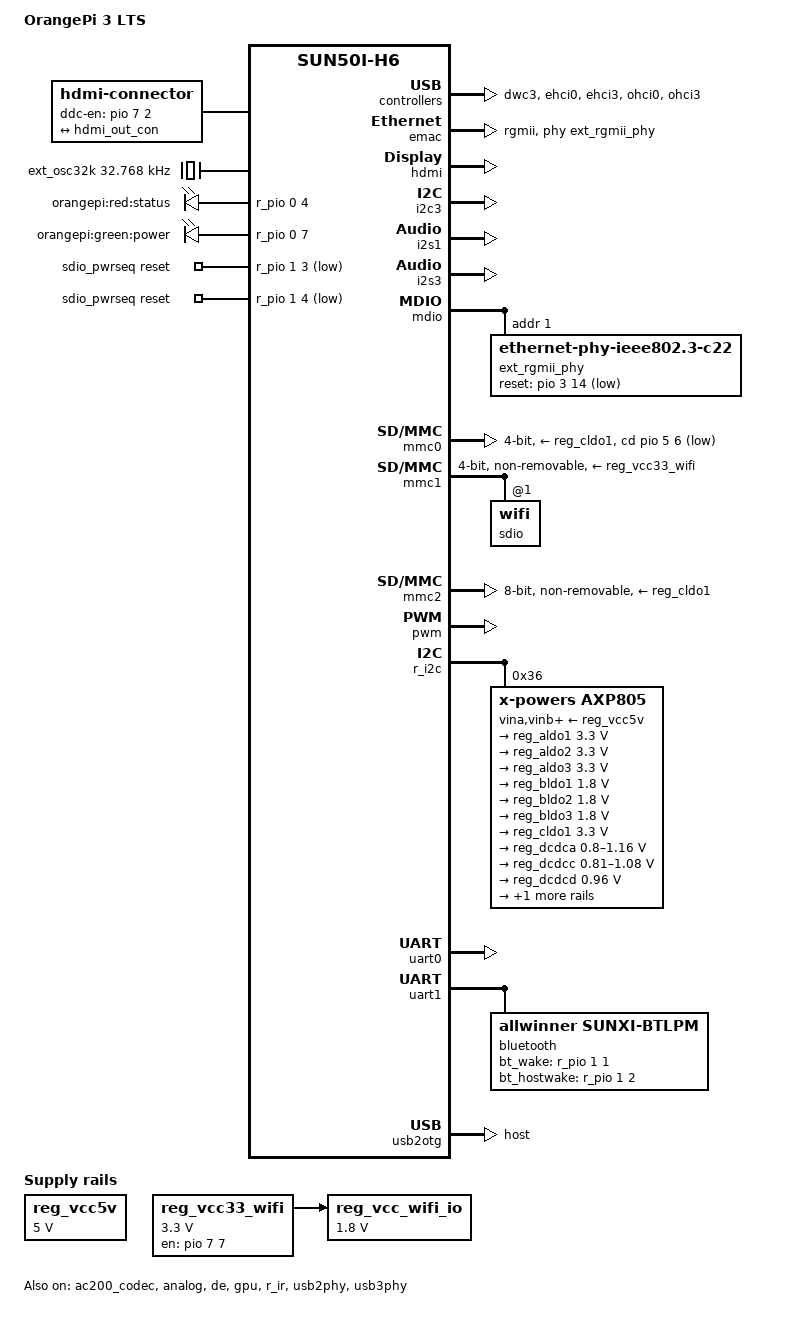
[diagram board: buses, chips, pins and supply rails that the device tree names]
// SPDX-License-Identifier: (GPL-2.0+ OR MIT)
// Copyright (C) 2019 Ondřej Jirman <megous@megous.com>
// Copyright (C) 2023 Jernej Skrabec <jernej.skrabec@gmail.com>
// Edited by Patrick Yavitz <pyavitz@gmail.com>

/dts-v1/;

#include "sun50i-h6.dtsi"
#include "sun50i-h6-cpu-opp.dtsi"

#include <dt-bindings/gpio/gpio.h>

/ {
	model = "OrangePi 3 LTS";
	compatible = "xunlong,orangepi-3-lts", "allwinner,sun50i-h6";

	aliases {
		ethernet0 = &emac;
		serial0 = &uart0;
	};

	chosen {
		stdout-path = "serial0:115200n8";
		kaslr-seed = <0xfeedbeef 0xc0def00d>;
	};

	connector {
		compatible = "hdmi-connector";
		ddc-en-gpios = <&pio 7 2 GPIO_ACTIVE_HIGH>; /* PH2 */
		type = "a";

		port {
			hdmi_con_in: endpoint {
				remote-endpoint = <&hdmi_out_con>;
			};
		};
	};

	ext_osc32k: ext-osc32k-clk {
		#clock-cells = <0>;
		compatible = "fixed-clock";
		clock-frequency = <32768>;
		clock-output-names = "ext_osc32k";
	};

	leds {
		compatible = "gpio-leds";

		led-0 {
			label = "orangepi:red:status";
			gpios = <&r_pio 0 4 GPIO_ACTIVE_HIGH>; /* PL4 */
			linux,default-trigger = "heartbeat";
		};

		led-1 {
			label = "orangepi:green:power";
			gpios = <&r_pio 0 7 GPIO_ACTIVE_HIGH>; /* PL7 */
			linux,default-trigger = "default-on";
		};
	};

	reg_vcc5v: vcc5v {
		/* board wide 5V supply directly from the DC jack */
		compatible = "regulator-fixed";
		regulator-name = "vcc-5v";
		regulator-min-microvolt = <5000000>;
		regulator-max-microvolt = <5000000>;
		regulator-always-on;
	};

	reg_vcc33_wifi: vcc33-wifi {
		/* Always on 3.3V regulator for WiFi and BT */
		compatible = "regulator-fixed";
		enable-active-high;
		regulator-name = "vcc33-wifi";
		regulator-min-microvolt = <3300000>;
		regulator-max-microvolt = <3300000>;
		gpio = <&pio 7 7 GPIO_ACTIVE_HIGH>; /* PH7 */
	};

	reg_vcc_wifi_io: vcc-wifi-io {
		/* Always on 1.8V/300mA regulator for WiFi and BT IO */
		compatible = "regulator-fixed";
		regulator-always-on;
		regulator-name = "vcc-wifi-io";
		regulator-min-microvolt = <1800000>;
		regulator-max-microvolt = <1800000>;
		vin-supply = <&reg_vcc33_wifi>;
	};

	sdio_pwrseq: sdio-pwrseq {
		compatible = "mmc-pwrseq-simple";
		clocks = <&rtc CLK_OSC32K_FANOUT>;
		clock-names = "ext_clock";
		post-power-on-delay-ms = <200>;
		reset-gpios = <&r_pio 1 3 GPIO_ACTIVE_LOW>, /* PM3 */
			      <&r_pio 1 4 GPIO_ACTIVE_LOW>; /* PM4 */
	};
};

&ac200_codec {
	avcc-supply = <&reg_aldo2>;
	status = "okay";
};

&ac200_pwm_clk {
	status = "okay";
};

&analog {
	status = "okay";
};

&cpu0 {
	cpu-supply = <&reg_dcdca>;
};

&de {
	status = "okay";
};

&dwc3 {
	status = "okay";
};

&ehci0 {
	status = "okay";
};

&ehci3 {
	status = "okay";
};

&emac {
	status = "okay";
	pinctrl-0 = <&ext_rgmii_pins>;
	pinctrl-names = "default";
	phy-mode = "rgmii";
	phy-handle = <&ext_rgmii_phy>;
	allwinner,tx-delay-ps = <700>;
	allwinner,rx-delay-ps = <1700>;
};

&gpu {
	mali-supply = <&reg_dcdcc>;
	status = "okay";
};

&hdmi {
	status = "okay";
};

&hdmi_out {
	hdmi_out_con: endpoint {
		remote-endpoint = <&hdmi_con_in>;
	};
};

&i2c3 {
	status = "okay";
};

&i2s1 {
	status = "okay";
};

&i2s3 {
	status = "okay";
};

&mdio {
	ext_rgmii_phy: ethernet-phy@1 {
		compatible = "ethernet-phy-ieee802.3-c22";
		reg = <1>;

		reset-gpios = <&pio 3 14 GPIO_ACTIVE_LOW>; /* PD14 */
		reset-assert-us = <15000>;
		reset-deassert-us = <40000>;
	};
};

&mmc0 {
	status = "okay";
	bus-width = <4>;
	cd-gpios = <&pio 5 6 GPIO_ACTIVE_LOW>; /* PF6 */
	vmmc-supply = <&reg_cldo1>;
};

&mmc1 {
	status = "okay";
	bus-width = <4>;
	non-removable;
	mmc-pwrseq = <&sdio_pwrseq>;
	vmmc-supply = <&reg_vcc33_wifi>;
	vqmmc-supply = <&reg_vcc_wifi_io>;

	sdio: wifi@1 {
		reg = <1>;
	};
};

&mmc2 {
	status = "okay";
	bus-width = <8>;
	cap-mmc-hw-reset;
	non-removable;
	vmmc-supply = <&reg_cldo1>;
	vqmmc-supply = <&reg_bldo2>;
};

&ohci0 {
	status = "okay";
};

&ohci3 {
	status = "okay";
};

&pio {
	vcc-pc-supply = <&reg_bldo2>;
	vcc-pd-supply = <&reg_cldo1>;
	vcc-pg-supply = <&reg_vcc_wifi_io>;
};

&pwm {
	status = "okay";
};

&r_i2c {
	status = "okay";

	axp805: pmic@36 {
		compatible = "x-powers,axp805", "x-powers,axp806";
		reg = <0x36>;
		interrupt-parent = <&r_intc>;
		interrupts = <GIC_SPI 96 IRQ_TYPE_LEVEL_LOW>;
		interrupt-controller;
		#interrupt-cells = <1>;
		x-powers,self-working-mode;
		vina-supply = <&reg_vcc5v>;
		vinb-supply = <&reg_vcc5v>;
		vinc-supply = <&reg_vcc5v>;
		vind-supply = <&reg_vcc5v>;
		vine-supply = <&reg_vcc5v>;
		aldoin-supply = <&reg_vcc5v>;
		bldoin-supply = <&reg_vcc5v>;
		cldoin-supply = <&reg_vcc5v>;

		regulators {
			reg_aldo1: aldo1 {
				regulator-always-on;
				regulator-min-microvolt = <3300000>;
				regulator-max-microvolt = <3300000>;
				regulator-name = "vcc-pl-led-ir";
			};

			reg_aldo2: aldo2 {
				regulator-always-on;
				regulator-min-microvolt = <3300000>;
				regulator-max-microvolt = <3300000>;
				regulator-name = "vcc33-audio-tv-ephy-mac";
			};

			/* ALDO3 is shorted to CLDO1 */
			reg_aldo3: aldo3 {
				regulator-always-on;
				regulator-min-microvolt = <3300000>;
				regulator-max-microvolt = <3300000>;
				regulator-name = "vcc33-io-pd-emmc-sd-usb-uart-1";
			};

			reg_bldo1: bldo1 {
				regulator-always-on;
				regulator-min-microvolt = <1800000>;
				regulator-max-microvolt = <1800000>;
				regulator-name = "vcc18-dram-bias-pll";
			};

			reg_bldo2: bldo2 {
				regulator-always-on;
				regulator-min-microvolt = <1800000>;
				regulator-max-microvolt = <1800000>;
				regulator-name = "vcc-efuse-pcie-hdmi-pc";
			};

			reg_bldo3: bldo3 {
				regulator-always-on;
				regulator-min-microvolt = <1800000>;
				regulator-max-microvolt = <1800000>;
				regulator-name = "vcc-pm-pg-dcxoio-wifi";
			};

			bldo4 {
				/* unused */
			};

			reg_cldo1: cldo1 {
				regulator-always-on;
				regulator-min-microvolt = <3300000>;
				regulator-max-microvolt = <3300000>;
				regulator-name = "vcc33-io-pd-emmc-sd-usb-uart-2";
			};

			cldo2 {
				/* unused */
			};

			cldo3 {
				/* unused */
			};

			reg_dcdca: dcdca {
				regulator-always-on;
				regulator-min-microvolt = <800000>;
				regulator-max-microvolt = <1160000>;
				regulator-ramp-delay = <2500>;
				regulator-name = "vdd-cpu";
			};

			reg_dcdcc: dcdcc {
				regulator-enable-ramp-delay = <32000>;
				regulator-min-microvolt = <810000>;
				regulator-max-microvolt = <1080000>;
				regulator-ramp-delay = <2500>;
				regulator-name = "vdd-gpu";
			};

			reg_dcdcd: dcdcd {
				regulator-always-on;
				regulator-min-microvolt = <960000>;
				regulator-max-microvolt = <960000>;
				regulator-name = "vdd-sys";
			};

			reg_dcdce: dcdce {
				regulator-always-on;
				regulator-min-microvolt = <1200000>;
				regulator-max-microvolt = <1200000>;
				regulator-name = "vcc-dram";
			};

			sw {
				/* unused */
			};
		};
	};
};

&r_ir {
	status = "okay";
};

&rtc {
	clocks = <&ext_osc32k>;
};

&r_pio {
	vcc-pm-supply = <&reg_bldo3>;
};

&sound_hdmi {
	status = "okay";
};

&uart0 {
	pinctrl-names = "default";
	pinctrl-0 = <&uart0_ph_pins>;
	status = "okay";
};

/* Bluetooth */
&uart1 {
	pinctrl-names = "default";
	pinctrl-0 = <&uart1_pins>, <&uart1_rts_cts_pins>;
	uart-has-rtscts;
	status = "okay";

	bluetooth {
		compatible = "allwinner,sunxi-btlpm";
		bt_wake = <&r_pio 1 1 GPIO_ACTIVE_HIGH>; /* PM1 */
		bt_hostwake = <&r_pio 1 2 GPIO_ACTIVE_HIGH>; /* PM2 */
	};
};

&usb2otg {
	/*
	 * This board doesn't have a controllable VBUS even though it
	 * does have an ID pin. Using it as anything but a USB host is
	 * unsafe.
	 */
	dr_mode = "host";
	status = "okay";
};

&usb2phy {
	usb0_id_det-gpios = <&pio 2 15 GPIO_ACTIVE_HIGH>; /* PC15 */
	usb0_vbus-supply = <&reg_vcc5v>;
	usb3_vbus-supply = <&reg_vcc5v>;
	status = "okay";
};

&usb3phy {
	status = "okay";
};
